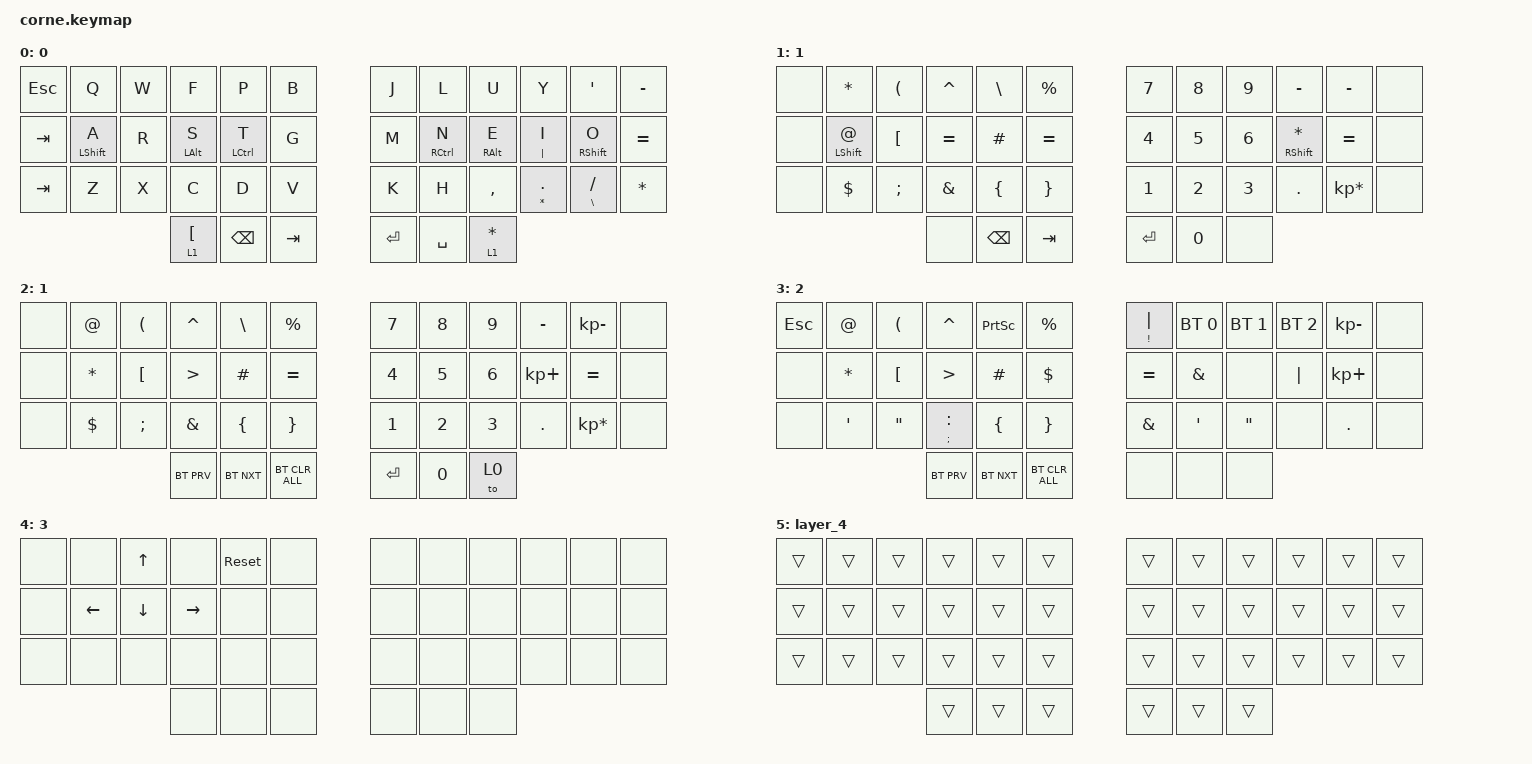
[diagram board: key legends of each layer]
/*
 * Copyright (c) 2020 The ZMK Contributors
 *
 * SPDX-License-Identifier: MIT
 */

#define EXT_POWER_OFF_CMD 0
#define EXT_POWER_ON_CMD 1
#define EXT_POWER_TOGGLE_CMD 2
#define EP_ON EXT_POWER_ON_CMD
#define EP_OFF EXT_POWER_OFF_CMD
#define EP_TOG EXT_POWER_TOGGLE_CMD

#include <behaviors.dtsi>
#include <dt-bindings/zmk/bt.h>
#include <dt-bindings/zmk/keys.h>

#define DEFAULT_L 0
#define SYMBOLS_L 1
#define ARROWS_L  2
#define NUMBERS_L 3

/ {
    behaviors {
        hm: homerow_mods {
            compatible = "zmk,behavior-hold-tap";
            label = "HOMEROW_MODS";
            #binding-cells = <2>;
            tapping-term-ms = <300>;
            quick-tap-ms = <200>;
            flavor = "tap-preferred";
            bindings = <&kp>, <&kp>;
        };
    };

    combos {
        compatible = "zmk,combos";

        a {
            bindings = <&kp ESCAPE>;
            key-positions = <2 1>;
        };

        b {
            bindings = <&kp EQUAL>;
            key-positions = <3 4>;
        };

        c {
            bindings = <&kp CAPS>;
            key-positions = <13 14>;
        };

        e {
            bindings = <&kp ENTER>;
            key-positions = <22 21>;
        };

        f {
            bindings = <&kp MINUS>;
            key-positions = <19 20>;
        };

        g {
            bindings = <&kp EQUAL>;
            key-positions = <7 8>;
        };

        h {
            bindings = <&sys_reset>;
            key-positions = <1 29>;
        };

        j {
            bindings = <&sys_reset>;
            key-positions = <30 9>;
        };

        greater {
            bindings = <&kp GREATER_THAN>;
            key-positions = <15 28>;
            layers = <0>;
        };

        lessthan {
            bindings = <&kp LESS_THAN>;
            key-positions = <31 20>;
            layers = <0>;
        };

        under {
            bindings = <&kp UNDER>;
            key-positions = <31 32>;
            layers = <0>;
        };

        backslash {
            bindings = <&kp BACKSLASH>;
            key-positions = <3 16>;
        };

        slash {
            bindings = <&kp SLASH>;
            key-positions = <8 19>;
        };

        pipe {
            bindings = <&kp PIPE>;
            key-positions = <7 19>;
        };

        copy {
            bindings = <&kp LC(C)>;
            key-positions = <37 15>;
        };

        paste {
            bindings = <&kp LC(V)>;
            key-positions = <16 37>;
        };

        cut {
            bindings = <&kp LC(X)>;
            key-positions = <14 37>;
        };

        star {
            bindings = <&kp ASTERISK>;
            key-positions = <27 28>;
        };

        prinsc {
            bindings = <&kp PRINTSCREEN>;
            key-positions = <39 38>;
        };

        todefultlayer {
            bindings = <&to 0>;
            key-positions = <37 40>;
        };

        btclear {
            bindings = <&bt BT_CLR_ALL>;
            key-positions = <17 18>;
        };

        tol1 {
            bindings = <&to 1>;
            key-positions = <37 39>;
        };

        tolay2 {
            bindings = <&to 3>;
            key-positions = <37 41>;
        };

        minus {
            bindings = <&kp MINUS>;
            key-positions = <15 16>;
        };
    };

    macros {
        testtt: testtt {
            compatible = "zmk,behavior-macro";
            #binding-cells = <0>;
            bindings =
                <&none &kp LS(T) &kp H &kp E &kp SPACE &kp P &kp A &kp T &kp I &kp E &kp N &kp T &kp SPACE &kp E &kp X &kp P &kp E &kp R &kp I &kp E &kp N &kp C &kp E &kp D &kp SPACE &kp S &kp Y &kp M &kp P &kp T &kp O &kp M &kp S &kp SPACE &kp O &kp F &kp SPACE>,
                <&macro_press>,
                <&kp P &kp COMMA &kp PERIOD>;

            label = "TESTTT";
        };
    };

    keymap {
        compatible = "zmk,keymap";

        default_layer {
            label = "0";
            bindings = <
&kp ESC  &kp Q             &kp W  &kp F               &kp P          &kp B      &kp J      &kp L        &kp U            &kp Y                &kp SQT              &kp MINUS
&kp TAB  &hm LEFT_SHIFT A  &kp R  &hm LEFT_ALT S      &hm LCTRL T    &kp G      &kp M      &hm RCTRL N  &hm RIGHT_ALT E  &hm PIPE I           &hm RIGHT_SHIFT O    &kp EQUAL
&kp TAB  &kp Z             &kp X  &kp C               &kp D          &kp V      &kp K      &kp H        &kp COMMA        &mt ASTERISK PERIOD  &hm BACKSLASH SLASH  &kp ASTERISK
                                  &lt 1 LEFT_BRACKET  &kp BACKSPACE  &kp TAB    &kp ENTER  &kp SPACE    &lt 1 ASTERISK
            >;
        };

        number_layer {
            label = "1";
            bindings = <
&none  &kp ASTERISK            &kp LEFT_PARENTHESIS  &kp CARET      &kp BACKSLASH   &kp PERCENT        &kp N7        &kp N8        &kp N9        &kp MINUS                 &kp MINUS        &none
&none  &hm LEFT_SHIFT AT_SIGN  &kp LEFT_BRACKET      &kp EQUAL      &kp POUND       &kp EQUAL          &kp NUMBER_4  &kp N5        &kp NUMBER_6  &hm RIGHT_SHIFT ASTERISK  &kp EQUAL        &none
&none  &kp DOLLAR              &kp SEMICOLON         &kp AMPERSAND  &kp LEFT_BRACE  &kp RIGHT_BRACE    &kp NUMBER_1  &kp NUMBER_2  &kp NUMBER_3  &kp PERIOD                &kp KP_ASTERISK  &none
                                                     &none          &kp BACKSPACE   &kp TAB            &kp ENTER     &kp N0        &none
            >;
        };

        layer_5 {
            label = "1";
            bindings = <
&none  &kp AT_SIGN   &kp LEFT_PARENTHESIS  &kp CARET         &kp BACKSLASH   &kp PERCENT        &kp N7        &kp N8        &kp N9        &kp MINUS    &kp KP_MINUS     &none
&none  &kp ASTERISK  &kp LEFT_BRACKET      &kp GREATER_THAN  &kp POUND       &kp EQUAL          &kp NUMBER_4  &kp N5        &kp NUMBER_6  &kp KP_PLUS  &kp EQUAL        &none
&none  &kp DOLLAR    &kp SEMICOLON         &kp AMPERSAND     &kp LEFT_BRACE  &kp RIGHT_BRACE    &kp NUMBER_1  &kp NUMBER_2  &kp NUMBER_3  &kp PERIOD   &kp KP_ASTERISK  &none
                                           &bt BT_PRV        &bt BT_NXT      &bt BT_CLR_ALL     &kp ENTER     &kp N0        &to 0
            >;
        };

        symbol {
            label = "2";
            bindings = <
&kp ESC  &kp AT_SIGN       &kp LEFT_PARENTHESIS  &kp CARET         &kp PRINTSCREEN  &kp PERCENT        &mt EXCLAMATION PIPE  &bt BT_SEL 0    &bt BT_SEL 1       &bt BT_SEL 2  &kp KP_MINUS  &none
&none    &kp ASTERISK      &kp LEFT_BRACKET      &kp GREATER_THAN  &kp POUND        &kp DOLLAR         &kp EQUAL             &kp AMPERSAND   &none              &kp PIPE      &kp KP_PLUS   &none
&none    &kp SINGLE_QUOTE  &kp DOUBLE_QUOTES     &hm SEMI COLON    &kp LEFT_BRACE   &kp RIGHT_BRACE    &kp AMPS              &kp APOSTROPHE  &kp DOUBLE_QUOTES  &none         &kp DOT       &none
                                                 &bt BT_PRV        &bt BT_NXT       &bt BT_CLR_ALL     &none                 &none           &none
            >;
        };

        arrow_layer {
            label = "3";
            bindings = <
&none  &none           &kp UP_ARROW    &none      &sys_reset  &none    &none  &none  &none  &none  &none  &none
&none  &kp LEFT_ARROW  &kp DOWN_ARROW  &kp RIGHT  &none       &none    &none  &none  &none  &none  &none  &none
&none  &none           &none           &none      &none       &none    &none  &none  &none  &none  &none  &none
                                       &none      &none       &none    &none  &none  &none
            >;
        };

        layer_4 {
            bindings = <
&trans  &trans  &trans  &trans  &trans  &trans    &trans  &trans  &trans  &trans  &trans  &trans
&trans  &trans  &trans  &trans  &trans  &trans    &trans  &trans  &trans  &trans  &trans  &trans
&trans  &trans  &trans  &trans  &trans  &trans    &trans  &trans  &trans  &trans  &trans  &trans
                        &trans  &trans  &trans    &trans  &trans  &trans
            >;
        };
    };
};
